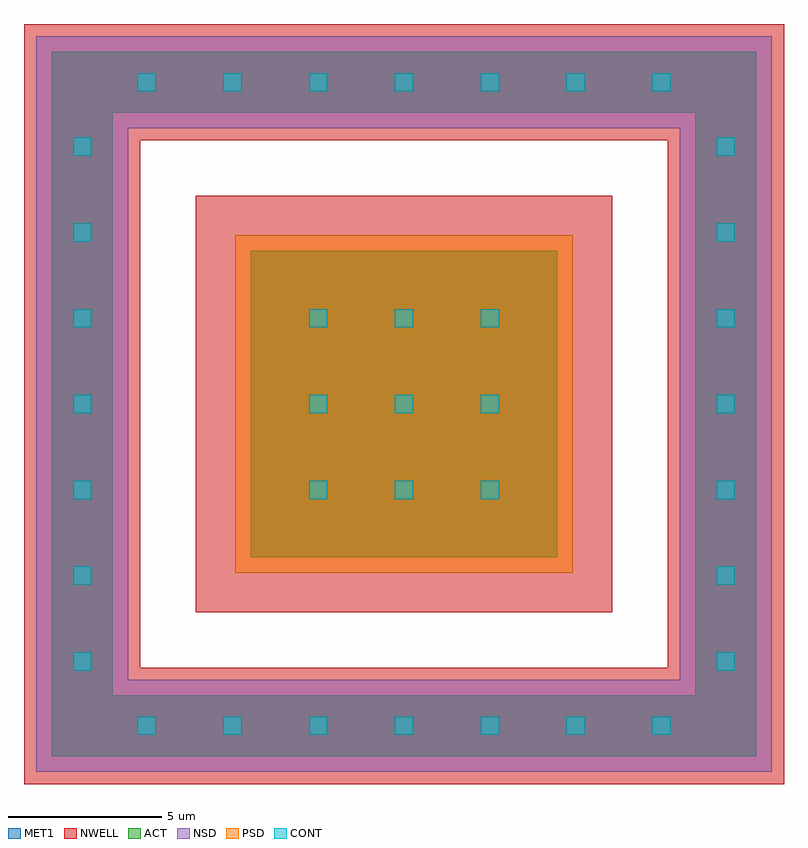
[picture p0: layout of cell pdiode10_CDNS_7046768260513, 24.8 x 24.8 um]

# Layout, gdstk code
from math import pi, radians
import gdstk
lib = gdstk.Library(unit=1e-6, precision=1e-09)
def R(c, l, rs):  # rectangles x0, y0, x1, y1
    for r in rs: c.add(gdstk.rectangle(r[:2], r[2:], *l))
def A(c, l, x, y, w, h, nx, ny, dx, dy):  # array of equal rectangles
    R(c, l, [(x+i*dx, y+j*dy, x+i*dx+w, y+j*dy+h) for i in range(nx) for j in range(ny)])
NWELL = (2, 0)
ACT = (11, 0)
NSD = (14, 0)
PSD = (15, 0)
CONT = (31, 0)
MET1 = (32, 0)

ptap_cdns_7046768260515 = lib.new_cell('ptap_CDNS_7046768260515')
R(ptap_cdns_7046768260515, ACT, [(0.5,0.5,10.3,10.3)])
A(ptap_cdns_7046768260515, CONT, 2.3, 2.3, 0.6, 0.6, 3, 3, 2.8, 2.8)
R(ptap_cdns_7046768260515, MET1, [(0.4,0.4,10.4,10.4)])

ntap_cdns_7046768260514 = lib.new_cell('ntap_CDNS_7046768260514')
R(ntap_cdns_7046768260514, ACT, [(0.5,0.5,2.3,19.3)])
A(ntap_cdns_7046768260514, CONT, 1.1, 1.2, 0.6, 0.6, 1, 7, 0, 2.8)
R(ntap_cdns_7046768260514, MET1, [(0.4,0.4,2.4,19.4)])

pdiode10_cdns_7046768260 = lib.new_cell('pdiode10_CDNS_7046768260513')
R(pdiode10_cdns_7046768260, NWELL, [(1.1,1.1,25.9,4.9), (1.1,4.9,4.9,22.1), (22.1,4.9,25.9,22.1), (6.7,6.7,20.3,20.3), (1.1,22.1,25.9,25.9)])
R(pdiode10_cdns_7046768260, ACT, [(2,2,25,4), (2,4,4,23), (23,4,25,23), (8.5,8.5,18.5,18.5), (2,23,25,25)])
R(pdiode10_cdns_7046768260, NSD, [(1.5,1.5,25.5,4.5), (1.5,4.5,4.5,22.5), (22.5,4.5,25.5,22.5), (1.5,22.5,25.5,25.5)])
R(pdiode10_cdns_7046768260, PSD, [(8,8,19,19)])
R(pdiode10_cdns_7046768260, MET1, [(2,2,25,4), (2,4,4,23), (23,4,25,23), (8.5,8.5,18.5,18.5), (2,23,25,25)])
pdiode10_cdns_7046768260.add(gdstk.Reference(ptap_cdns_7046768260515, (8.1,8.1)))
pdiode10_cdns_7046768260.add(gdstk.Reference(ntap_cdns_7046768260514, (1.6,3.6)))
pdiode10_cdns_7046768260.add(gdstk.Reference(ntap_cdns_7046768260514, (3.6,22.6), rotation=pi/2, x_reflection=True))
pdiode10_cdns_7046768260.add(gdstk.Reference(ntap_cdns_7046768260514, (3.6,1.6), rotation=pi/2, x_reflection=True))
pdiode10_cdns_7046768260.add(gdstk.Reference(ntap_cdns_7046768260514, (22.6,3.6)))

lib.write_gds('pdiode10_CDNS_7046768260513.gds')
